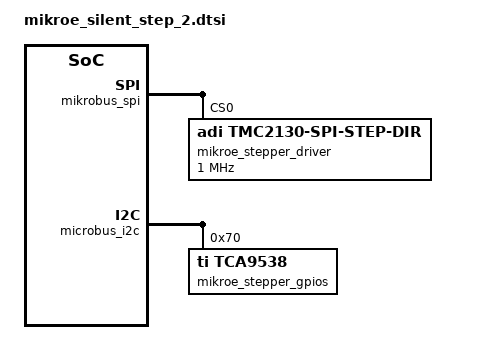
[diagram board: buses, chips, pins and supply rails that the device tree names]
/*
 * Copyright (c) 2025 Navimatix GmbH
 * SPDX-License-Identifier: Apache-2.0
 */

/*
 * Aliases for the devices used in the demo, this allows them
 * to be used without knowing the exact hardware configuration.
 */
/ {
	aliases {
		stepper-motor = &mikroe_stepper_driver;
	};
};

&mikrobus_spi {
	status = "okay";
	mikroe_stepper_driver: tmc2130@0 {
		compatible = "adi,tmc2130-spi-step-dir";
		reg = <0>;
		spi-max-frequency = <DT_FREQ_M(1)>; /* Maximum SPI bus frequency */
	};
};

&microbus_i2c {
	status = "okay";

	/* Configuration of the IO expander for driver setups, a TCA9538A. */
	mikroe_stepper_gpios: tca9538a@70 {
		compatible = "ti,tca9538";
		status = "okay";

		reg = <0x70>;

		gpio-controller;
		#gpio-cells = <2>;

		ngpios = <8>;

		gpio-reserved-ranges = <3 1>;
		gpio-line-names = "EN",		/* P0 */
				  "FT1",	/* P1 */
				  "FT2";	/* P2 */
	};
};
